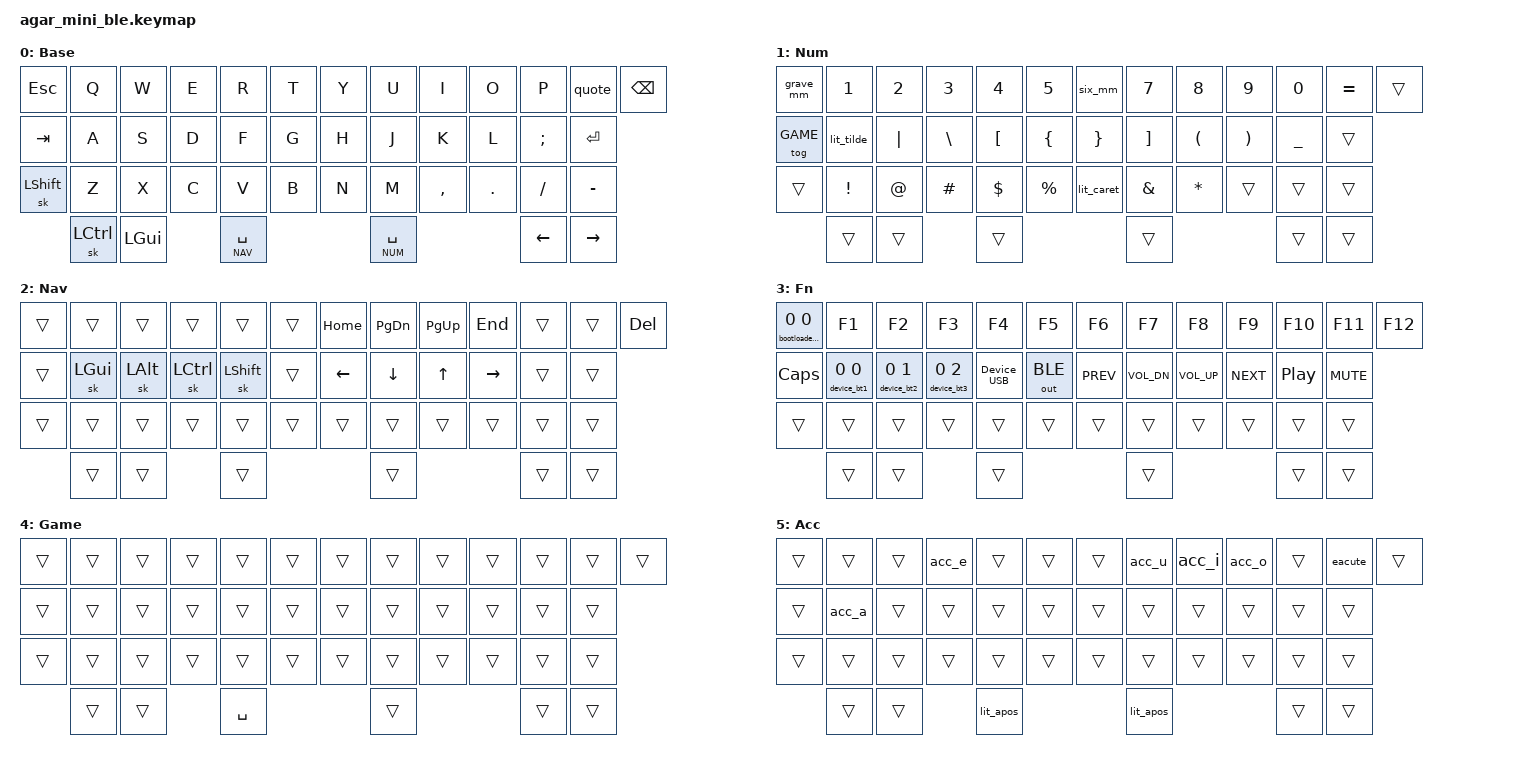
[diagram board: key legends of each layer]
/*
 * Agar mini custom layout. See agar-mini-layout.md for the design.
 *
 * SPDX-License-Identifier: MIT
 */

#include <behaviors.dtsi>
#include <dt-bindings/zmk/keys.h>
#include <dt-bindings/zmk/bt.h>
#include <dt-bindings/zmk/outputs.h>
#include "device_keys.dtsi"

#define BASE 0
#define NUM  1
#define NAV  2
#define FN   3
#define GAME 4
#define ACC  5  // above GAME, so ' + left Space still types '

#define SHIFTS (MOD_LSFT|MOD_RSFT)
#define SHORTCUT_MODS (MOD_LCTL|MOD_RCTL|MOD_LALT|MOD_RALT|MOD_LGUI|MOD_RGUI)

// The computer uses xkb `us intl`, where ' " ` ~ ^ are dead keys.
// Plain characters are sent as dead key + Space, accents as dead key + letter.
#define LITERAL(name, key) ZMK_MACRO(name, bindings = <&kp key &kp SPACE>;)
#define DEAD(name, dead, letter) ZMK_MACRO(name, bindings = <&kp dead &kp letter>;)

#define MORPH(name, normal, shifted) \
    name: name { \
        compatible = "zmk,behavior-mod-morph"; \
        #binding-cells = <0>; \
        bindings = <normal>, <shifted>; \
        mods = <SHIFTS>; \
    };

// With Ctrl, Alt or Super active, send `plain` with those mods kept, so the key
// still works as a shortcut (Ctrl+', Super+', ...)
#define UNLESS_SHORTCUT(name, accented, plain) \
    name: name { \
        compatible = "zmk,behavior-mod-morph"; \
        #binding-cells = <0>; \
        bindings = <accented>, <plain>; \
        mods = <SHORTCUT_MODS>; \
        keep-mods = <SHORTCUT_MODS>; \
    };

// Accented vowel for the ACC layer: è, or È when Shift is active
#define ACCENT(v, dead, letter) \
    DEAD(v##_lo, dead, letter) \
    DEAD(v##_up, dead, LS(letter)) \
    MORPH(v, &v##_lo, &v##_up)

&sk {
    release-after-ms = <1500>;
    quick-release;
};

// ' is the accent key: tap it, then the vowel, or Space for a plain '
&sl {
    release-after-ms = <1500>;
    ignore-modifiers;  // Shift tapped between ' and the vowel must not end ACC
};

/ {
    macros {
        LITERAL(lit_apos, SQT)
        LITERAL(lit_dquote, DQT)
        LITERAL(lit_grave, GRAVE)
        LITERAL(lit_tilde, TILDE)
        LITERAL(lit_caret, CARET)
    };

    behaviors {
        ACCENT(acc_a, GRAVE, A)
        ACCENT(acc_e, GRAVE, E)
        ACCENT(acc_i, GRAVE, I)
        ACCENT(acc_o, GRAVE, O)
        ACCENT(acc_u, GRAVE, U)

        // ' key: accent key (Shift: "); on ACC: é (Shift: É)
        DEAD(eacute_lo, SQT, E)
        DEAD(eacute_up, SQT, LS(E))
        MORPH(eacute, &eacute_lo, &eacute_up)
        MORPH(quote_mm, &sl ACC, &lit_dquote)
        UNLESS_SHORTCUT(quote, &quote_mm, &kp SQT)

        // NUM layer: ` (Shift: ~) and 6 (Shift: ^) without dead keys
        MORPH(grave_mm, &lit_grave, &lit_tilde)
        MORPH(six_mm, &kp N6, &lit_caret)

        spc_nav: space_nav {
            compatible = "zmk,behavior-hold-tap";
            #binding-cells = <2>;
            flavor = "balanced";
            tapping-term-ms = <200>;
            quick-tap-ms = <175>;
            require-prior-idle-ms = <150>;
            bindings = <&mo>, <&kp>;
        };

        spc_num: space_num {
            compatible = "zmk,behavior-hold-tap";
            #binding-cells = <2>;
            flavor = "balanced";
            tapping-term-ms = <200>;
            quick-tap-ms = <175>;
            bindings = <&mo>, <&kp>;
        };
    };

    conditional_layers {
        compatible = "zmk,conditional-layers";
        fn_layer {
            if-layers = <NUM NAV>;
            then-layer = <FN>;
        };
    };

    keymap {
        compatible = "zmk,keymap";

        default_layer {
            display-name = "Base";
            bindings = <
&kp ESC     &kp Q        &kp W     &kp E       &kp R  &kp T  &kp Y  &kp U       &kp I       &kp O       &kp P      &quote     &kp BSPC
&kp TAB     &kp A        &kp S     &kp D       &kp F  &kp G  &kp H  &kp J       &kp K       &kp L       &kp SEMI   &kp RET
&sk LSHFT   &kp Z        &kp X     &kp C       &kp V  &kp B  &kp N  &kp M       &kp COMMA   &kp DOT     &kp FSLH   &kp MINUS
            &sk LCTRL    &kp LGUI              &spc_nav NAV SPACE   &spc_num NUM SPACE                  &kp LEFT   &kp RIGHT
            >;
        };

        num_layer {
            display-name = "Num";
            bindings = <
&grave_mm  &kp N1    &kp N2  &kp N3    &kp N4    &kp N5     &six_mm     &kp N7    &kp N8    &kp N9    &kp N0     &kp EQUAL  &trans
&tog GAME  &lit_tilde &kp PIPE &kp BSLH &kp LBKT  &kp LBRC   &kp RBRC    &kp RBKT  &kp LPAR  &kp RPAR  &kp UNDER  &trans
&trans     &kp EXCL  &kp AT  &kp HASH  &kp DLLR  &kp PRCNT  &lit_caret  &kp AMPS  &kp STAR  &trans    &trans     &trans
           &trans    &trans                      &trans                 &trans                        &trans     &trans
            >;
        };

        nav_layer {
            display-name = "Nav";
            bindings = <
&trans  &trans     &trans     &trans      &trans      &trans  &kp HOME  &kp PG_DN  &kp PG_UP  &kp END    &trans  &trans  &kp DEL
&trans  &sk LGUI   &sk LALT   &sk LCTRL   &sk LSHFT   &trans  &kp LEFT  &kp DOWN   &kp UP     &kp RIGHT  &trans  &trans
&trans  &trans     &trans     &trans      &trans      &trans  &trans    &trans     &trans     &trans     &trans  &trans
        &trans     &trans                 &trans                        &trans                           &trans  &trans
            >;
        };

        fn_layer {
            display-name = "Fn";
            bindings = <
&bootloader_reset 0 0  &kp F1           &kp F2           &kp F3           &kp F4       &kp F5        &kp F6      &kp F7        &kp F8        &kp F9      &kp F10   &kp F11  &kp F12
&kp CAPS               &device_bt1 0 0  &device_bt2 0 1  &device_bt3 0 2  &Device_USB  &out OUT_BLE  &kp C_PREV  &kp C_VOL_DN  &kp C_VOL_UP  &kp C_NEXT  &kp C_PP  &kp C_MUTE
&trans                 &trans           &trans           &trans           &trans       &trans        &trans      &trans        &trans        &trans      &trans    &trans
                       &trans           &trans                            &trans                     &trans                                  &trans      &trans
            >;
        };

        // Left Space is a plain key: games that poll key state miss a hold-tap's instant tap
        game_layer {
            display-name = "Game";
            bindings = <
&trans  &trans  &trans  &trans  &trans  &trans  &trans  &trans  &trans  &trans  &trans  &trans  &trans
&trans  &trans  &trans  &trans  &trans  &trans  &trans  &trans  &trans  &trans  &trans  &trans
&trans  &trans  &trans  &trans  &trans  &trans  &trans  &trans  &trans  &trans  &trans  &trans
        &trans  &trans          &kp SPACE                &trans                  &trans  &trans
            >;
        };

        acc_layer {
            display-name = "Acc";
            bindings = <
&trans      &trans   &trans  &acc_e  &trans  &trans  &trans  &acc_u  &acc_i  &acc_o  &trans  &eacute  &trans
&trans      &acc_a   &trans  &trans  &trans  &trans  &trans  &trans  &trans  &trans  &trans  &trans
&trans      &trans   &trans  &trans  &trans  &trans  &trans  &trans  &trans  &trans  &trans  &trans
            &trans   &trans                  &lit_apos               &lit_apos               &trans   &trans
            >;
        };

        layer6 { status = "reserved"; };
        layer7 { status = "reserved"; };
    };
};
